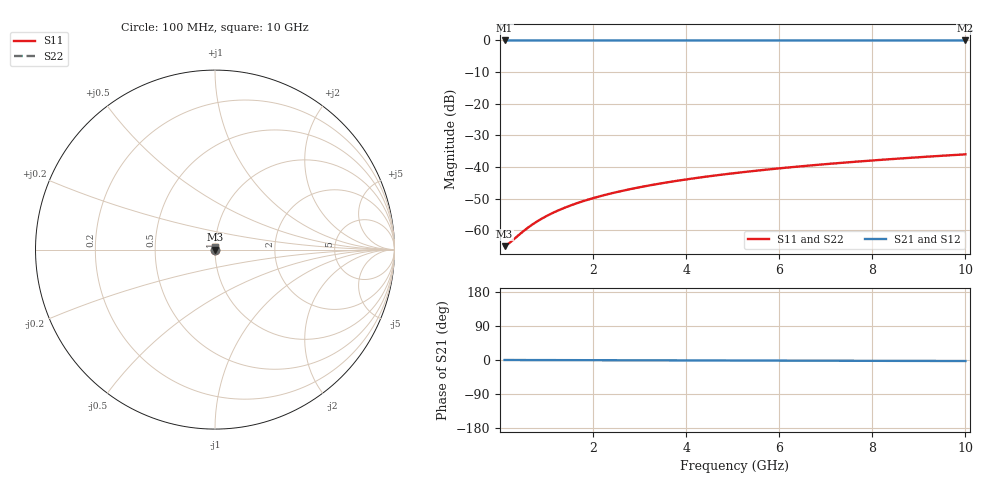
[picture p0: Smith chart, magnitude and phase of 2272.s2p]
# Hz S RI R 50.00
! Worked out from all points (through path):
!   100 points, 100 MHz to 10 GHz, reference 50 ohm
!   highest |S21| = 0.00 dB at 100 MHz (marker M1); lowest = 0.0 dB at 10 GHz (marker M2)
!   lowest |S11| = -65.1 dB at 100 MHz (marker M3), VSWR 1.00, Z = 50.1 + j0.0158 ohm
!   |S11| at or under -10 dB: start of sweep to end of sweep
!   |S22| runs from -65.1 to -36.0 dB; largest |S21 - S12| = 0
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1e8  0.000536 0.000158  0.9995 -0.000471  0.9995 -0.000471  0.000536 0.000158
2e8  0.00054 0.000315  0.9995 -0.000942  0.9995 -0.000942  0.00054 0.000315
5e8  0.000547 0.000788  0.9994 -0.00235  0.9994 -0.00235  0.000547 0.000788
6e8  0.00055 0.000946  0.9994 -0.00283  0.9994 -0.00283  0.00055 0.000946
7e8  0.000552 0.0011  0.9994 -0.0033  0.9994 -0.0033  0.000552 0.0011
9e8  0.000557 0.00142  0.9994 -0.00424  0.9994 -0.00424  0.000557 0.00142
1.1e9  0.000562 0.00173  0.9994 -0.00518  0.9994 -0.00518  0.000562 0.00173
1.3e9  0.000567 0.00205  0.9994 -0.00612  0.9994 -0.00612  0.000567 0.00205
1.5e9  0.000573 0.00236  0.9994 -0.00706  0.9994 -0.00706  0.000573 0.00236
1.8e9  0.000582 0.00284  0.9994 -0.00848  0.9994 -0.00848  0.000582 0.00284
2.1e9  0.000593 0.00331  0.9994 -0.00989  0.9994 -0.00989  0.000593 0.00331
2.5e9  0.000609 0.00394  0.9994 -0.0118  0.9994 -0.0118  0.000609 0.00394
2.9e9  0.000627 0.00457  0.9993 -0.0137  0.9993 -0.0137  0.000627 0.00457
3.4e9  0.000653 0.00536  0.9993 -0.016  0.9993 -0.016  0.000653 0.00536
3.8e9  0.000676 0.00599  0.9992 -0.0179  0.9992 -0.0179  0.000676 0.00599
4.2e9  0.000702 0.00662  0.9992 -0.0198  0.9992 -0.0198  0.000702 0.00662
5.1e9  0.000768 0.00804  0.9991 -0.024  0.9991 -0.024  0.000768 0.00804
5.9e9  0.000837 0.0093  0.999 -0.0278  0.999 -0.0278  0.000837 0.0093
6.7e9  0.000915 0.0106  0.9988 -0.0316  0.9988 -0.0316  0.000915 0.0106
7.5e9  0.001 0.0118  0.9987 -0.0354  0.9987 -0.0354  0.001 0.0118
8.4e9  0.00111 0.0132  0.9985 -0.0396  0.9985 -0.0396  0.00111 0.0132
1e10  0.00134 0.0158  0.9981 -0.0472  0.9981 -0.0472  0.00134 0.0158
